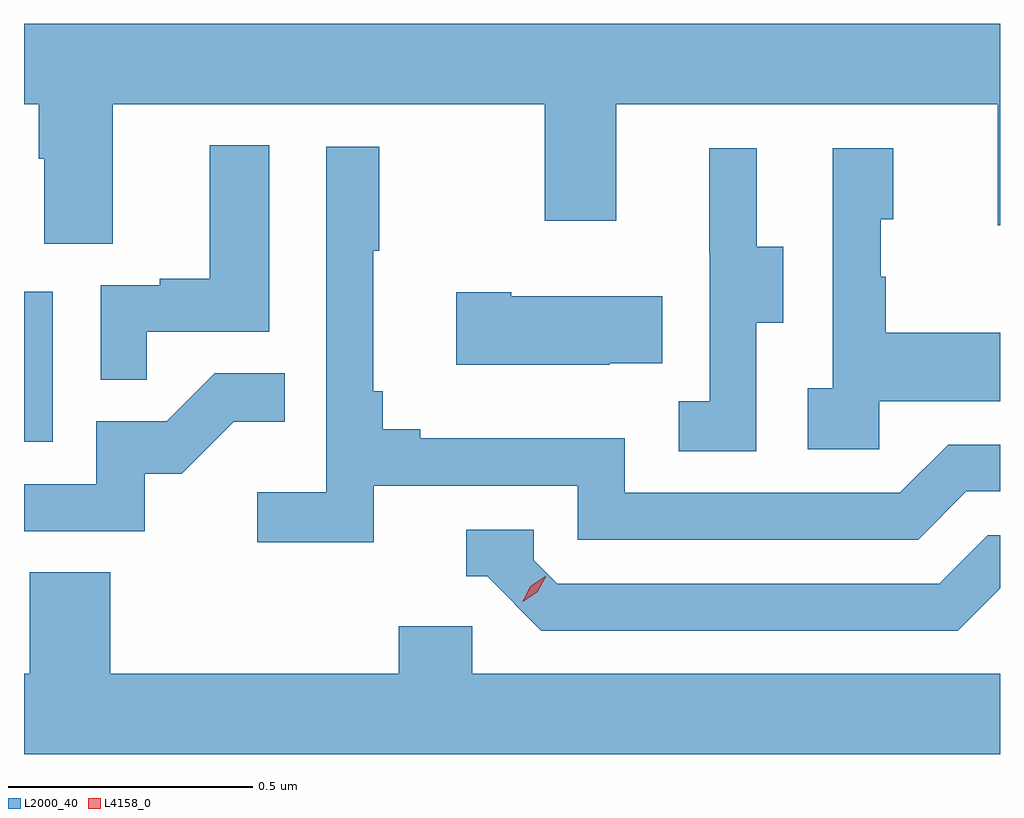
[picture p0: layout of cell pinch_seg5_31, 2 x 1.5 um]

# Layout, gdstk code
import gdstk
lib = gdstk.Library(unit=1e-6, precision=1e-09)
def R(c, l, rs):  # rectangles x0, y0, x1, y1
    for r in rs: c.add(gdstk.rectangle(r[:2], r[2:], *l))
def P(c, l, *ps):  # polygons
    for p in ps: c.add(gdstk.Polygon(p, *l))
L2000_40 = (2000, 40)
L4158_0 = (4158, 0)

pinch_seg5_31 = lib.new_cell('pinch_seg5_31')
R(pinch_seg5_31, L2000_40, [(1090.055,912.012,1090.114,912.319)])
P(pinch_seg5_31, L2000_40, [(1090.237,912.704),(1091.122,912.704),(1091.122,912.465),(1091.269,912.465),(1091.269,912.704),(1092.05,912.704),(1092.05,912.456),(1092.055,912.456),(1092.055,912.868),(1090.055,912.868),(1090.055,912.704),(1090.085,912.704),(1090.085,912.592),(1090.097,912.592),(1090.097,912.418),(1090.237,912.418)],
  [(1090.307,912.237),(1090.558,912.237),(1090.558,912.619),(1090.436,912.619),(1090.436,912.346),(1090.333,912.346),(1090.333,912.333),(1090.212,912.333),(1090.212,912.139),(1090.307,912.139)],
  [(1090.772,911.922),(1091.19,911.922),(1091.19,911.811),(1091.887,911.811),(1091.986,911.91),(1092.055,911.91),(1092.055,912.006),(1091.949,912.006),(1091.85,911.907),(1091.286,911.907),(1091.286,912.019),(1090.867,912.019),(1090.867,912.038),(1090.79,912.038),(1090.79,912.115),(1090.771,912.115),(1090.771,912.403),(1090.783,912.403),(1090.783,912.616),(1090.674,912.616),(1090.674,911.908),(1090.533,911.908),(1090.533,911.806),(1090.772,911.806)],
  [(1091.808,912.095),(1092.055,912.095),(1092.055,912.235),(1091.821,912.235),(1091.821,912.35),(1091.811,912.35),(1091.811,912.468),(1091.836,912.468),(1091.836,912.613),(1091.712,912.613),(1091.712,912.122),(1091.661,912.122),(1091.661,911.997),(1091.808,911.997)],
  [(1091.556,912.256),(1091.611,912.256),(1091.611,912.411),(1091.557,912.411),(1091.557,912.613),(1091.459,912.613),(1091.459,912.399),(1091.46,912.399),(1091.46,912.095),(1091.397,912.095),(1091.397,911.992),(1091.556,911.992)],
  [(1091.255,912.173),(1091.363,912.173),(1091.363,912.31),(1091.053,912.31),(1091.053,912.318),(1090.941,912.318),(1090.941,912.17),(1091.255,912.17)],
  [(1090.302,911.946),(1090.378,911.946),(1090.485,912.053),(1090.589,912.053),(1090.589,912.152),(1090.446,912.152),(1090.348,912.054),(1090.203,912.054),(1090.203,911.925),(1090.055,911.925),(1090.055,911.829),(1090.302,911.829)],
  [(1092.055,911.712),(1092.055,911.82),(1092.03,911.82),(1091.931,911.721),(1091.148,911.721),(1091.1,911.769),(1091.1,911.832),(1090.961,911.832),(1090.961,911.736),(1091.004,911.736),(1091.115,911.625),(1091.968,911.625)],
  [(1092.055,911.536),(1090.974,911.536),(1090.974,911.634),(1090.823,911.634),(1090.823,911.536),(1090.232,911.536),(1090.232,911.744),(1090.067,911.744),(1090.067,911.536),(1090.055,911.536),(1090.055,911.372),(1092.055,911.372)])
P(pinch_seg5_31, L4158_0, [(1091.076,911.683),(1091.076,911.683),(1091.092,911.716),(1091.123,911.736),(1091.124,911.736),(1091.124,911.735),(1091.107,911.703),(1091.076,911.683)])

lib.write_gds('pinch_seg5_31.gds')
